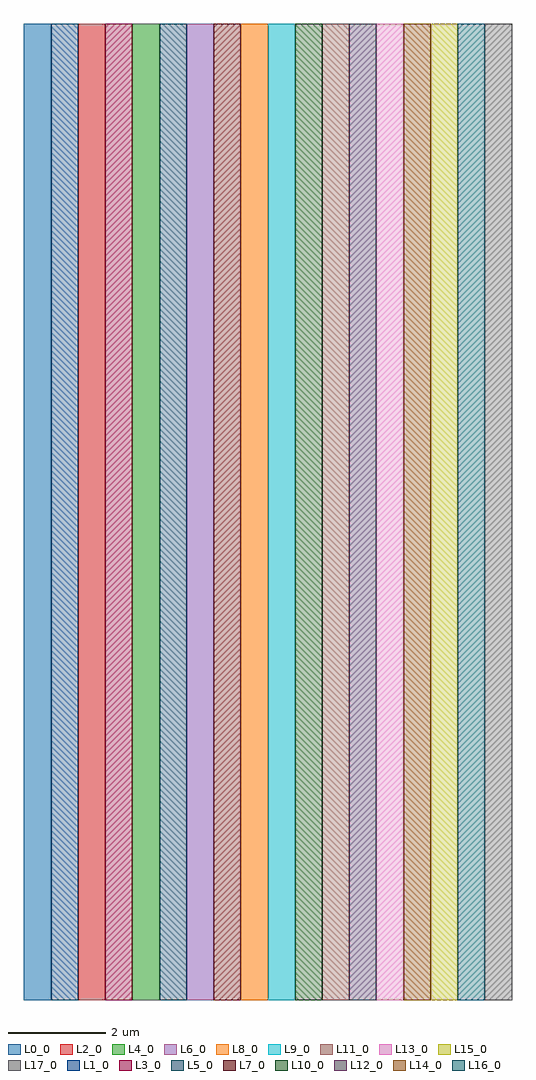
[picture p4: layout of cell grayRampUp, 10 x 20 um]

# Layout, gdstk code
import gdstk
lib = gdstk.Library(unit=1e-6, precision=1e-09)
def R(c, l, rs):  # rectangles x0, y0, x1, y1
    for r in rs: c.add(gdstk.rectangle(r[:2], r[2:], *l))
L0_0 = (0, 0)
L1_0 = (1, 0)
L2_0 = (2, 0)
L3_0 = (3, 0)
L4_0 = (4, 0)
L5_0 = (5, 0)
L6_0 = (6, 0)
L7_0 = (7, 0)
L8_0 = (8, 0)
L9_0 = (9, 0)
L10_0 = (10, 0)
L11_0 = (11, 0)
L12_0 = (12, 0)
L13_0 = (13, 0)
L14_0 = (14, 0)
L15_0 = (15, 0)
L16_0 = (16, 0)
L17_0 = (17, 0)

grayrampup = lib.new_cell('grayRampUp')
R(grayrampup, L0_0, [(0,0,0.556,20)])
R(grayrampup, L1_0, [(0.556,0,1.111,20)])
R(grayrampup, L2_0, [(1.111,0,1.667,20)])
R(grayrampup, L3_0, [(1.667,0,2.222,20)])
R(grayrampup, L4_0, [(2.222,0,2.778,20)])
R(grayrampup, L5_0, [(2.778,0,3.333,20)])
R(grayrampup, L6_0, [(3.333,0,3.889,20)])
R(grayrampup, L7_0, [(3.889,0,4.444,20)])
R(grayrampup, L8_0, [(4.444,0,5,20)])
R(grayrampup, L9_0, [(5,0,5.556,20)])
R(grayrampup, L10_0, [(5.556,0,6.111,20)])
R(grayrampup, L11_0, [(6.111,0,6.667,20)])
R(grayrampup, L12_0, [(6.667,0,7.222,20)])
R(grayrampup, L13_0, [(7.222,0,7.778,20)])
R(grayrampup, L14_0, [(7.778,0,8.333,20)])
R(grayrampup, L15_0, [(8.333,0,8.889,20)])
R(grayrampup, L16_0, [(8.889,0,9.444,20)])
R(grayrampup, L17_0, [(9.444,0,10,20)])

lib.write_gds('grayRampUp.gds')
